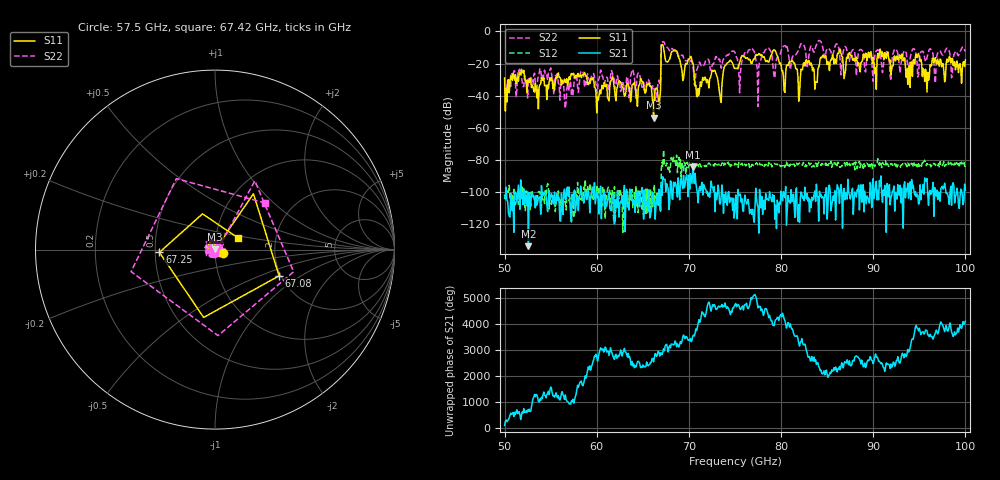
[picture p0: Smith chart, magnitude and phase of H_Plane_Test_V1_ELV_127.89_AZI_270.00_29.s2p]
! 11/27/2026 8:20:32 AM
! C:\ANRITSUVNA\TEMP\TEMP.S2P
! CHANNEL.1
! TR.MEASUREMENT
! RAW.DATA
# HZ S RI R 50.0
! FREQ.HZ  S11RE  S11IM  S21RE  S21IM  S12RE  S12IM  S22RE  S22IM
!; PortSelection: Port_12
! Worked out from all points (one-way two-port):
!   601 points, 50 GHz to 100 GHz, reference 50 ohm
!   highest |S21| = -84.64 dB at 70.42 GHz (marker M1); lowest = -134.0 dB at 52.58 GHz (marker M2)
!   lowest |S11| = -53.8 dB at 66.17 GHz (marker M3), VSWR 1.00, Z = 50.1 + j0.154 ohm
!   |S11| at or under -10 dB: start of sweep to 67 GHz; 67.24 GHz to end of sweep
!   |S22| runs from -48.0 to -5.6 dB; largest |S21 - S12| = 0.00022
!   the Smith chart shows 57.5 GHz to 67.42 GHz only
!   S11 on the Smith chart (normalised r, x): 57.5 GHz: 1.09, -0.05; 67.08 GHz: 1.96, -0.67; 67.25 GHz: 0.53, -0.02; 67.42 GHz: 1.29, +0.17
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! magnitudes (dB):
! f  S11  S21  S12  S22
! 50 GHz  -29.0  -102.2  -104.1  -35.7
! 52.58 GHz  -30.5  -134.0  -101.9  -29.5
! 57.5 GHz  -26.1  -101.3  -116.3  -34.4
! 58.42 GHz  -27.1  -104.3  -105.5  -24.7
! 60.17 GHz  -42.8  -102.9  -102.0  -30.2
! 66.17 GHz  -53.8  -106.8  -102.6  -33.9
! 66.67 GHz  -41.8  -108.5  -100.7  -31.5
! 67.08 GHz  -8.3  -102.3  -81.5  -6.8
! 67.25 GHz  -10.2  -92.1  -73.8  -6.3
! 67.42 GHz  -16.8  -92.3  -82.1  -8.4
! 70.42 GHz  -19.6  -84.6  -83.6  -21.2
! 70.92 GHz  -40.8  -101.0  -83.7  -23.1
! 75 GHz  -23.1  -110.2  -82.3  -13.0
! 77.58 GHz  -13.8  -125.9  -82.6  -21.9
! 78.5 GHz  -18.2  -104.2  -82.9  -10.8
! 79.33 GHz  -11.7  -117.1  -82.6  -28.8
! 80.25 GHz  -27.9  -99.9  -82.7  -9.3
! 83.42 GHz  -24.6  -105.2  -84.3  -10.9
! 91.67 GHz  -16.7  -103.2  -84.2  -15.3
! 94.83 GHz  -14.8  -102.2  -85.2  -28.4
! 95.83 GHz  -37.9  -91.8  -82.4  -16.4
! 100 GHz  -17.8  -99.0  -84.5  -12.6
